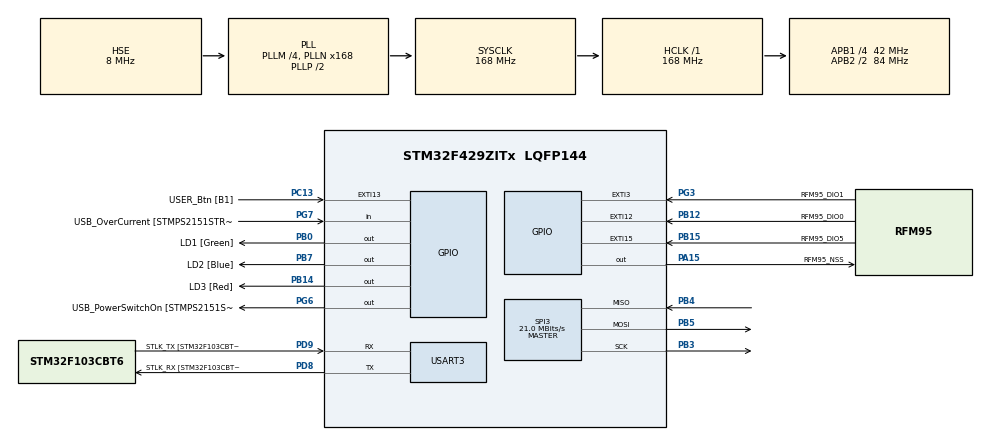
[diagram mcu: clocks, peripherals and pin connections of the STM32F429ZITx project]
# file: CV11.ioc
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Mcu.Family=STM32F4
Mcu.Name=STM32F429ZITx
Mcu.Package=LQFP144
NVIC.EXTI15_10_IRQn=true\:0\:0\:false\:false\:true\:true\:true\:true
NVIC.EXTI3_IRQn=true\:0\:0\:false\:false\:true\:true\:true\:true
NVIC.PriorityGroup=NVIC_PRIORITYGROUP_4
NVIC.SPI3_IRQn=true\:0\:0\:false\:false\:true\:true\:true\:true
PA1.GPIO_Label=RMII_REF_CLK [LAN8742A-CZ-TR_REFCLK0]
PA1.Signal=ETH_REF_CLK
PA10.GPIO_Label=USB_ID
PA10.Signal=USB_OTG_FS_ID
PA11.GPIO_Label=USB_DM
PA11.Signal=USB_OTG_FS_DM
PA12.GPIO_Label=USB_DP
PA12.Signal=USB_OTG_FS_DP
PA13.GPIO_Label=TMS
PA13.Mode=Serial_Wire
PA13.Signal=SYS_JTMS-SWDIO
PA14.GPIO_Label=TCK
PA14.Mode=Serial_Wire
PA14.Signal=SYS_JTCK-SWCLK
PA15.GPIO_Label=RFM95_NSS
PA15.Signal=GPIO_Output
PA2.GPIO_Label=RMII_MDIO [LAN8742A-CZ-TR_MDIO]
PA2.Signal=ETH_MDIO
PA7.GPIO_Label=RMII_CRS_DV [LAN8742A-CZ-TR_CRS_DV]
PA7.Signal=ETH_CRS_DV
PA8.GPIO_Label=USB_SOF [TP1]
PA8.Signal=USB_OTG_FS_SOF
PA9.GPIO_Label=USB_VBUS
PA9.Signal=USB_OTG_FS_VBUS
PB0.GPIO_Label=LD1 [Green]
PB0.Signal=GPIO_Output
PB12.GPIO_Label=RFM95_DIO0
PB12.Signal=GPXTI12
PB13.GPIO_Label=RMII_TXD1 [LAN8742A-CZ-TR_TXD1]
PB13.Signal=ETH_TXD1
PB14.GPIO_Label=LD3 [Red]
PB14.Signal=GPIO_Output
PB15.GPIO_Label=RFM95_DIO5
PB15.Signal=GPXTI15
PB3.Mode=Full_Duplex_Master
PB3.Signal=SPI3_SCK
PB4.Mode=Full_Duplex_Master
PB4.Signal=SPI3_MISO
PB5.Mode=Full_Duplex_Master
PB5.Signal=SPI3_MOSI
PB7.GPIO_Label=LD2 [Blue]
PB7.Signal=GPIO_Output
PC1.GPIO_Label=RMII_MDC [LAN8742A-CZ-TR_MDC]
PC1.Signal=ETH_MDC
PC13.GPIO_Label=USER_Btn [B1]
PC13.Signal=GPXTI13
PC14/OSC32_IN.Mode=LSE-External-Oscillator
PC14/OSC32_IN.Signal=RCC_OSC32_IN
PC15/OSC32_OUT.Mode=LSE-External-Oscillator
PC15/OSC32_OUT.Signal=RCC_OSC32_OUT
PC4.GPIO_Label=RMII_RXD0 [LAN8742A-CZ-TR_RXD0]
PC4.Signal=ETH_RXD0
PC5.GPIO_Label=RMII_RXD1 [LAN8742A-CZ-TR_RXD1]
PC5.Signal=ETH_RXD1
PD8.GPIO_Label=STLK_RX [STM32F103CBT6_PA3]
PD8.Mode=Asynchronous
PD8.Signal=USART3_TX
PD9.GPIO_Label=STLK_TX [STM32F103CBT6_PA2]
PD9.Mode=Asynchronous
PD9.Signal=USART3_RX
PG11.GPIO_Label=RMII_TX_EN [LAN8742A-CZ-TR_TXEN]
PG11.Signal=ETH_TX_EN
PG13.GPIO_Label=RMII_TXD0 [LAN8742A-CZ-TR_TXD0]
PG13.Signal=ETH_TXD0
PG3.GPIO_Label=RFM95_DIO1
PG3.Signal=GPXTI3
PG6.GPIO_Label=USB_PowerSwitchOn [STMPS2151STR_EN]
PG6.Signal=GPIO_Output
PG7.GPIO_Label=USB_OverCurrent [STMPS2151STR_FAULT]
PG7.Signal=GPIO_Input
PH0/OSC_IN.GPIO_Label=MCO [STM32F103CBT6_PA8]
PH0/OSC_IN.Mode=HSE-External-Clock-Source
PH0/OSC_IN.Signal=RCC_OSC_IN
PH1/OSC_OUT.Mode=HSE-External-Clock-Source
PH1/OSC_OUT.Signal=RCC_OSC_OUT
ProjectManager.HeapSize=0x200
ProjectManager.StackSize=0x400
ProjectManager.TargetToolchain=STM32CubeIDE
RCC.48MHZClocksFreq_Value=48000000
RCC.AHBFreq_Value=168000000
RCC.APB1CLKDivider=RCC_HCLK_DIV4
RCC.APB1Freq_Value=42000000
RCC.APB1TimFreq_Value=84000000
RCC.APB2CLKDivider=RCC_HCLK_DIV2
RCC.APB2Freq_Value=84000000
RCC.APB2TimCLKDivider=2
RCC.APB2TimFreq_Value=168000000
RCC.CortexFreq_Value=168000000
RCC.HCLKFreq_Value=168000000
RCC.HSE_VALUE=8000000
RCC.HSI_VALUE=16000000
RCC.PLLM=4
RCC.PLLMUL=RCC_PLL_MUL9
RCC.PLLN=168
RCC.PLLQ=7
RCC.PLLSourceVirtual=RCC_PLLSOURCE_HSE
RCC.PRESCALERUSB=RCC_USBCLKSOURCE_PLL_DIV1_5
RCC.SYSCLKFreq_VALUE=168000000
RCC.SYSCLKSource=RCC_SYSCLKSOURCE_PLLCLK
RCC.SYSCLKSourceVirtual=RCC_SYSCLKSOURCE_PLLCLK
RCC.USBFreq_Value=48000000
RCC.VCOOutputFreq_Value=336000000
SPI3.CalculateBaudRate=21.0 MBits/s
SPI3.Direction=SPI_DIRECTION_2LINES
SPI3.Mode=SPI_MODE_MASTER
SPI3.VirtualType=VM_MASTER
TIM2.Prescaler=4199
USART3.VirtualMode=VM_ASYNC
VP_RNG_VS_RNG.Mode=RNG_Activate
VP_TIM2_VS_ClockSourceINT.Mode=Internal
board=NUCLEO-F429ZI

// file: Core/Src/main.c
/* USER CODE BEGIN Header */
/**
  ******************************************************************************
  * @file           : main.c
  * @brief          : Main program body
  ******************************************************************************
  * @attention
  *
  * Copyright (c) 2025 STMicroelectronics.
  * All rights reserved.
  *
  * This software is licensed under terms that can be found in the LICENSE file
  * in the root directory of this software component.
  * If no LICENSE file comes with this software, it is provided AS-IS.
  *
  ******************************************************************************
  */
/* USER CODE END Header */
#include "main.h"

/* USER CODE BEGIN Includes */
#include "rfm95.h"
#include <string.h>
#include <stdint.h>
#include <stdio.h>
/* USER CODE END Includes */

RNG_HandleTypeDef hrng;

SPI_HandleTypeDef hspi3;

TIM_HandleTypeDef htim2;

UART_HandleTypeDef huart3;

/* USER CODE BEGIN PV */

uint8_t  last_button_state        = 0;
uint32_t last_button_change_tick  = 0;   // для антидребезга (ms)

// flag tlacitka
volatile uint8_t user_button_pressed = 0;

// cas posledni periodicke zpravy (ms)
uint32_t last_periodic_tick = 0;

// blokace po stisku (ms)
uint32_t block_until_tick = 0;

// citac zprav
uint32_t msg_counter = 0;

char tx_buffer[32];

rfm95_handle_t rfm95_handle = {
    .spi_handle = &hspi3,

    .nss_port = RFM95_NSS_GPIO_Port,
    .nss_pin  = RFM95_NSS_Pin,

    // devAddr: 26 0B 04 72 (PC 72)
    .device_address = { 0x26, 0x0B, 0x04, 0x72 },

    .application_session_key = {
        0x40, 0x0A, 0xE6, 0x65, 0x1A, 0xA8, 0x92, 0x92,
        0x12, 0xC0, 0x08, 0xEC, 0xC2, 0xC1, 0x53, 0x72
    },

    .network_session_key = {
        0x80, 0x70, 0x52, 0xDA, 0x22, 0x5F, 0x54, 0xC3,
        0xB8, 0xDC, 0xAD, 0xA1, 0x8A, 0xF2, 0x85, 0x34
    },

    .receive_mode = RFM95_RECEIVE_MODE_NONE,

};
/* USER CODE END PV */

void SystemClock_Config(void);
static void MX_GPIO_Init(void);
static void MX_USART3_UART_Init(void);
static void MX_SPI3_Init(void);
static void MX_TIM2_Init(void);
static void MX_RNG_Init(void);
/* USER CODE BEGIN PFP */
static uint32_t get_precision_tick(void);
static void precision_sleep_until(uint32_t target_ticks);
static uint8_t random_int(uint8_t max);
/* USER CODE END PFP */

int main(void)
{

  /* MCU Configuration--------------------------------------------------------*/

  /* Reset of all peripherals, Initializes the Flash interface and the Systick. */
  HAL_Init();

  /* Configure the system clock */
  SystemClock_Config();

  /* Initialize all configured peripherals */
  MX_GPIO_Init();
  MX_USART3_UART_Init();
  MX_SPI3_Init();
  MX_TIM2_Init();
  MX_RNG_Init();
  /* USER CODE BEGIN 2 */
  // Inicializace RFM95
  if (!rfm95_init(&rfm95_handle)) {
	  while (1) {
	  }
  }
  /* USER CODE END 2 */
//  uint8_t data_packet[] = { 3, 72, 0x00, 0x00 };
  /* Infinite loop */
  /* USER CODE BEGIN WHILE */
  while (1)
  {
//  uint32_t now = HAL_GetTick();
//
//
//     GPIO_PinState raw_state = HAL_GPIO_ReadPin(USER_Btn_GPIO_Port, USER_Btn_Pin);
//     uint8_t curr_state = (raw_state == GPIO_PIN_SET) ? 1 : 0;
//
//     // простой антидребезг ~50 ms
//     if (curr_state != last_button_state &&
//         (now - last_button_change_tick) > 50)
//     {
//         last_button_change_tick = now;
//         last_button_state = curr_state;
//
//         // переход 0 -> 1
//         if (curr_state == 1)
//         {
//             // Сразу отправляем "devkit-72;press"
//             snprintf(tx_buffer, sizeof(tx_buffer), "devkit-72;press");
//
//             HAL_GPIO_WritePin(LD2_GPIO_Port, LD2_Pin, GPIO_PIN_SET); // синяя LED ON
//             rfm95_send_receive_cycle(&rfm95_handle,
//                                      (uint8_t*)tx_buffer,
//                                      strlen(tx_buffer));
//             HAL_GPIO_WritePin(LD2_GPIO_Port, LD2_Pin, GPIO_PIN_RESET); // синяя LED OFF
//
//             // блокируем остальные передачи на 5 секунд
//             block_until_tick   = now + 5000;
//             last_periodic_tick = now;
//         }
//     }
//
//
//     if ((int32_t)(now - last_periodic_tick) >= 30000 &&     // 30 s
//         (int32_t)(now - block_until_tick)   >= 0)           // не находимся в блоке
//     {
//         snprintf(tx_buffer, sizeof(tx_buffer),
//                  "devkit-72;%lu", (unsigned long)msg_counter++);
//
//         HAL_GPIO_WritePin(LD2_GPIO_Port, LD2_Pin, GPIO_PIN_SET); // синяя LED ON
//         rfm95_send_receive_cycle(&rfm95_handle,
//                                  (uint8_t*)tx_buffer,
//                                  strlen(tx_buffer));
//         HAL_GPIO_WritePin(LD2_GPIO_Port, LD2_Pin, GPIO_PIN_RESET); // синяя LED OFF
//
//         last_periodic_tick = now;
//     }

	  HAL_GPIO_WritePin(LD2_GPIO_Port, LD2_Pin, GPIO_PIN_SET); // синяя LED ON
     rfm95_send_receive_cycle(&rfm95_handle,(uint8_t*)tx_buffer, strlen(tx_buffer));
     HAL_GPIO_WritePin(LD2_GPIO_Port, LD2_Pin, GPIO_PIN_RESET); // синяя LED ON
     HAL_Delay(5000);

    /* USER CODE END WHILE */

  }
}

void SystemClock_Config(void)
{
  RCC_OscInitTypeDef RCC_OscInitStruct = {0};
  RCC_ClkInitTypeDef RCC_ClkInitStruct = {0};

  /** Configure the main internal regulator output voltage
  */
  __HAL_RCC_PWR_CLK_ENABLE();
  __HAL_PWR_VOLTAGESCALING_CONFIG(PWR_REGULATOR_VOLTAGE_SCALE1);

  /** Initializes the RCC Oscillators according to the specified parameters
  * in the RCC_OscInitTypeDef structure.
  */
  RCC_OscInitStruct.OscillatorType = RCC_OSCILLATORTYPE_HSE;
  RCC_OscInitStruct.HSEState = RCC_HSE_BYPASS;
  RCC_OscInitStruct.PLL.PLLState = RCC_PLL_ON;
  RCC_OscInitStruct.PLL.PLLSource = RCC_PLLSOURCE_HSE;
  RCC_OscInitStruct.PLL.PLLM = 4;
  RCC_OscInitStruct.PLL.PLLN = 168;
  RCC_OscInitStruct.PLL.PLLP = RCC_PLLP_DIV2;
  RCC_OscInitStruct.PLL.PLLQ = 7;
  if (HAL_RCC_OscConfig(&RCC_OscInitStruct) != HAL_OK)
  {
    Error_Handler();
  }

  /** Initializes the CPU, AHB and APB buses clocks
  */
  RCC_ClkInitStruct.ClockType = RCC_CLOCKTYPE_HCLK|RCC_CLOCKTYPE_SYSCLK
                              |RCC_CLOCKTYPE_PCLK1|RCC_CLOCKTYPE_PCLK2;
  RCC_ClkInitStruct.SYSCLKSource = RCC_SYSCLKSOURCE_PLLCLK;
  RCC_ClkInitStruct.AHBCLKDivider = RCC_SYSCLK_DIV1;
  RCC_ClkInitStruct.APB1CLKDivider = RCC_HCLK_DIV4;
  RCC_ClkInitStruct.APB2CLKDivider = RCC_HCLK_DIV2;

  if (HAL_RCC_ClockConfig(&RCC_ClkInitStruct, FLASH_LATENCY_5) != HAL_OK)
  {
    Error_Handler();
  }
}

static void MX_RNG_Init(void)
{

  hrng.Instance = RNG;
  if (HAL_RNG_Init(&hrng) != HAL_OK)
  {
    Error_Handler();
  }

}

static void MX_SPI3_Init(void)
{

  /* SPI3 parameter configuration*/
  hspi3.Instance = SPI3;
  hspi3.Init.Mode = SPI_MODE_MASTER;
  hspi3.Init.Direction = SPI_DIRECTION_2LINES;
  hspi3.Init.DataSize = SPI_DATASIZE_8BIT;
  hspi3.Init.CLKPolarity = SPI_POLARITY_LOW;
  hspi3.Init.CLKPhase = SPI_PHASE_1EDGE;
  hspi3.Init.NSS = SPI_NSS_SOFT;
  hspi3.Init.BaudRatePrescaler = SPI_BAUDRATEPRESCALER_2;
  hspi3.Init.FirstBit = SPI_FIRSTBIT_MSB;
  hspi3.Init.TIMode = SPI_TIMODE_DISABLE;
  hspi3.Init.CRCCalculation = SPI_CRCCALCULATION_DISABLE;
  hspi3.Init.CRCPolynomial = 10;
  if (HAL_SPI_Init(&hspi3) != HAL_OK)
  {
    Error_Handler();
  }

}

static void MX_TIM2_Init(void)
{

  TIM_ClockConfigTypeDef sClockSourceConfig = {0};
  TIM_MasterConfigTypeDef sMasterConfig = {0};

  htim2.Instance = TIM2;
  htim2.Init.Prescaler = 4199;
  htim2.Init.CounterMode = TIM_COUNTERMODE_UP;
  htim2.Init.Period = 4294967295;
  htim2.Init.ClockDivision = TIM_CLOCKDIVISION_DIV1;
  htim2.Init.AutoReloadPreload = TIM_AUTORELOAD_PRELOAD_DISABLE;
  if (HAL_TIM_Base_Init(&htim2) != HAL_OK)
  {
    Error_Handler();
  }
  sClockSourceConfig.ClockSource = TIM_CLOCKSOURCE_INTERNAL;
  if (HAL_TIM_ConfigClockSource(&htim2, &sClockSourceConfig) != HAL_OK)
  {
    Error_Handler();
  }
  sMasterConfig.MasterOutputTrigger = TIM_TRGO_RESET;
  sMasterConfig.MasterSlaveMode = TIM_MASTERSLAVEMODE_DISABLE;
  if (HAL_TIMEx_MasterConfigSynchronization(&htim2, &sMasterConfig) != HAL_OK)
  {
    Error_Handler();
  }

}

static void MX_USART3_UART_Init(void)
{

  huart3.Instance = USART3;
  huart3.Init.BaudRate = 115200;
  huart3.Init.WordLength = UART_WORDLENGTH_8B;
  huart3.Init.StopBits = UART_STOPBITS_1;
  huart3.Init.Parity = UART_PARITY_NONE;
  huart3.Init.Mode = UART_MODE_TX_RX;
  huart3.Init.HwFlowCtl = UART_HWCONTROL_NONE;
  huart3.Init.OverSampling = UART_OVERSAMPLING_16;
  if (HAL_UART_Init(&huart3) != HAL_OK)
  {
    Error_Handler();
  }

}

static void MX_GPIO_Init(void)
{
  GPIO_InitTypeDef GPIO_InitStruct = {0};

  /* GPIO Ports Clock Enable */
  __HAL_RCC_GPIOC_CLK_ENABLE();
  __HAL_RCC_GPIOH_CLK_ENABLE();
  __HAL_RCC_GPIOA_CLK_ENABLE();
  __HAL_RCC_GPIOB_CLK_ENABLE();
  __HAL_RCC_GPIOD_CLK_ENABLE();
  __HAL_RCC_GPIOG_CLK_ENABLE();

  /*Configure GPIO pin Output Level */
  HAL_GPIO_WritePin(GPIOB, LD1_Pin|LD3_Pin|LD2_Pin, GPIO_PIN_RESET);

  /*Configure GPIO pin Output Level */
  HAL_GPIO_WritePin(USB_PowerSwitchOn_GPIO_Port, USB_PowerSwitchOn_Pin, GPIO_PIN_RESET);

  /*Configure GPIO pin Output Level */
  HAL_GPIO_WritePin(RFM95_NSS_GPIO_Port, RFM95_NSS_Pin, GPIO_PIN_RESET);

  /*Configure GPIO pin : USER_Btn_Pin */
  GPIO_InitStruct.Pin = USER_Btn_Pin;
  GPIO_InitStruct.Mode = GPIO_MODE_IT_RISING;
  GPIO_InitStruct.Pull = GPIO_NOPULL;
  HAL_GPIO_Init(USER_Btn_GPIO_Port, &GPIO_InitStruct);

  /*Configure GPIO pins : RMII_MDC_Pin RMII_RXD0_Pin RMII_RXD1_Pin */
  GPIO_InitStruct.Pin = RMII_MDC_Pin|RMII_RXD0_Pin|RMII_RXD1_Pin;
  GPIO_InitStruct.Mode = GPIO_MODE_AF_PP;
  GPIO_InitStruct.Pull = GPIO_NOPULL;
  GPIO_InitStruct.Speed = GPIO_SPEED_FREQ_VERY_HIGH;
  GPIO_InitStruct.Alternate = GPIO_AF11_ETH;
  HAL_GPIO_Init(GPIOC, &GPIO_InitStruct);

  /*Configure GPIO pins : RMII_REF_CLK_Pin RMII_MDIO_Pin RMII_CRS_DV_Pin */
  GPIO_InitStruct.Pin = RMII_REF_CLK_Pin|RMII_MDIO_Pin|RMII_CRS_DV_Pin;
  GPIO_InitStruct.Mode = GPIO_MODE_AF_PP;
  GPIO_InitStruct.Pull = GPIO_NOPULL;
  GPIO_InitStruct.Speed = GPIO_SPEED_FREQ_VERY_HIGH;
  GPIO_InitStruct.Alternate = GPIO_AF11_ETH;
  HAL_GPIO_Init(GPIOA, &GPIO_InitStruct);

  /*Configure GPIO pins : LD1_Pin LD3_Pin LD2_Pin */
  GPIO_InitStruct.Pin = LD1_Pin|LD3_Pin|LD2_Pin;
  GPIO_InitStruct.Mode = GPIO_MODE_OUTPUT_PP;
  GPIO_InitStruct.Pull = GPIO_NOPULL;
  GPIO_InitStruct.Speed = GPIO_SPEED_FREQ_LOW;
  HAL_GPIO_Init(GPIOB, &GPIO_InitStruct);

  /*Configure GPIO pins : RFM95_DIO0_Pin RFM95_DIO5_Pin */
  GPIO_InitStruct.Pin = RFM95_DIO0_Pin|RFM95_DIO5_Pin;
  GPIO_InitStruct.Mode = GPIO_MODE_IT_RISING;
  GPIO_InitStruct.Pull = GPIO_NOPULL;
  HAL_GPIO_Init(GPIOB, &GPIO_InitStruct);

  /*Configure GPIO pin : RMII_TXD1_Pin */
  GPIO_InitStruct.Pin = RMII_TXD1_Pin;
  GPIO_InitStruct.Mode = GPIO_MODE_AF_PP;
  GPIO_InitStruct.Pull = GPIO_NOPULL;
  GPIO_InitStruct.Speed = GPIO_SPEED_FREQ_VERY_HIGH;
  GPIO_InitStruct.Alternate = GPIO_AF11_ETH;
  HAL_GPIO_Init(RMII_TXD1_GPIO_Port, &GPIO_InitStruct);

  /*Configure GPIO pin : RFM95_DIO1_Pin */
  GPIO_InitStruct.Pin = RFM95_DIO1_Pin;
  GPIO_InitStruct.Mode = GPIO_MODE_IT_RISING;
  GPIO_InitStruct.Pull = GPIO_NOPULL;
  HAL_GPIO_Init(RFM95_DIO1_GPIO_Port, &GPIO_InitStruct);

  /*Configure GPIO pin : USB_PowerSwitchOn_Pin */
  GPIO_InitStruct.Pin = USB_PowerSwitchOn_Pin;
  GPIO_InitStruct.Mode = GPIO_MODE_OUTPUT_PP;
  GPIO_InitStruct.Pull = GPIO_NOPULL;
  GPIO_InitStruct.Speed = GPIO_SPEED_FREQ_LOW;
  HAL_GPIO_Init(USB_PowerSwitchOn_GPIO_Port, &GPIO_InitStruct);

  /*Configure GPIO pin : USB_OverCurrent_Pin */
  GPIO_InitStruct.Pin = USB_OverCurrent_Pin;
  GPIO_InitStruct.Mode = GPIO_MODE_INPUT;
  GPIO_InitStruct.Pull = GPIO_NOPULL;
  HAL_GPIO_Init(USB_OverCurrent_GPIO_Port, &GPIO_InitStruct);

  /*Configure GPIO pins : USB_SOF_Pin USB_ID_Pin USB_DM_Pin USB_DP_Pin */
  GPIO_InitStruct.Pin = USB_SOF_Pin|USB_ID_Pin|USB_DM_Pin|USB_DP_Pin;
  GPIO_InitStruct.Mode = GPIO_MODE_AF_PP;
  GPIO_InitStruct.Pull = GPIO_NOPULL;
  GPIO_InitStruct.Speed = GPIO_SPEED_FREQ_VERY_HIGH;
  GPIO_InitStruct.Alternate = GPIO_AF10_OTG_FS;
  HAL_GPIO_Init(GPIOA, &GPIO_InitStruct);

  /*Configure GPIO pin : USB_VBUS_Pin */
  GPIO_InitStruct.Pin = USB_VBUS_Pin;
  GPIO_InitStruct.Mode = GPIO_MODE_INPUT;
  GPIO_InitStruct.Pull = GPIO_NOPULL;
  HAL_GPIO_Init(USB_VBUS_GPIO_Port, &GPIO_InitStruct);

  /*Configure GPIO pin : RFM95_NSS_Pin */
  GPIO_InitStruct.Pin = RFM95_NSS_Pin;
  GPIO_InitStruct.Mode = GPIO_MODE_OUTPUT_PP;
  GPIO_InitStruct.Pull = GPIO_NOPULL;
  GPIO_InitStruct.Speed = GPIO_SPEED_FREQ_LOW;
  HAL_GPIO_Init(RFM95_NSS_GPIO_Port, &GPIO_InitStruct);

  /*Configure GPIO pins : RMII_TX_EN_Pin RMII_TXD0_Pin */
  GPIO_InitStruct.Pin = RMII_TX_EN_Pin|RMII_TXD0_Pin;
  GPIO_InitStruct.Mode = GPIO_MODE_AF_PP;
  GPIO_InitStruct.Pull = GPIO_NOPULL;
  GPIO_InitStruct.Speed = GPIO_SPEED_FREQ_VERY_HIGH;
  GPIO_InitStruct.Alternate = GPIO_AF11_ETH;
  HAL_GPIO_Init(GPIOG, &GPIO_InitStruct);

  /* EXTI interrupt init*/
  HAL_NVIC_SetPriority(EXTI3_IRQn, 0, 0);
  HAL_NVIC_EnableIRQ(EXTI3_IRQn);

  HAL_NVIC_SetPriority(EXTI15_10_IRQn, 0, 0);
  HAL_NVIC_EnableIRQ(EXTI15_10_IRQn);

}

/* USER CODE BEGIN 4 */
static uint32_t get_precision_tick(void)
{
    return __HAL_TIM_GET_COUNTER(&htim2); // TIM2 = 20 kHz
}

static void precision_sleep_until(uint32_t target_ticks)
{
    while ((int32_t)(target_ticks - get_precision_tick()) > 0) {
        // busy wait
    }
}

static uint8_t random_int(uint8_t max)
{
    uint32_t rng_val = 0;
    HAL_RNG_GenerateRandomNumber(&hrng, &rng_val);
    return (uint8_t)(rng_val % (max + 1));
}

void HAL_GPIO_EXTI_Callback(uint16_t GPIO_Pin)
{

    if (GPIO_Pin == RFM95_DIO0_Pin) {
        rfm95_on_interrupt(&rfm95_handle, RFM95_INTERRUPT_DIO0);
    } else if (GPIO_Pin == RFM95_DIO1_Pin) {
        rfm95_on_interrupt(&rfm95_handle, RFM95_INTERRUPT_DIO1);
    } else if (GPIO_Pin == RFM95_DIO5_Pin) {
        rfm95_on_interrupt(&rfm95_handle, RFM95_INTERRUPT_DIO5);
    }
}

/* USER CODE END 4 */

void Error_Handler(void)
{
  __disable_irq();
  while (1)
  {
  }
}
